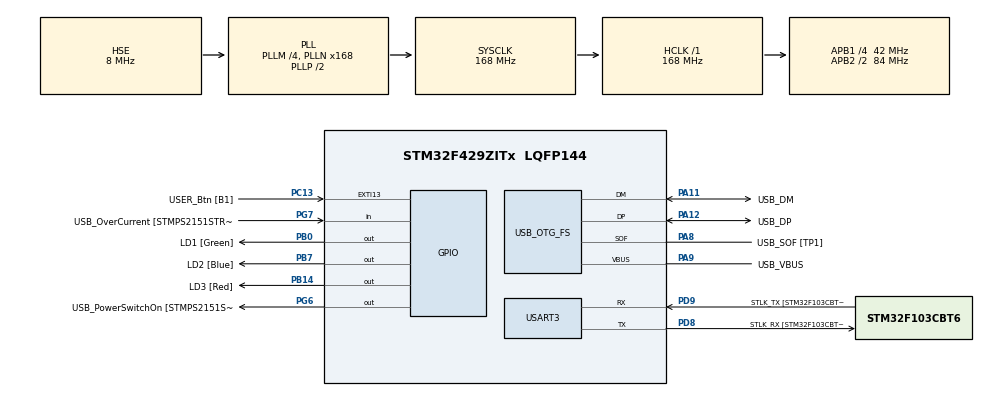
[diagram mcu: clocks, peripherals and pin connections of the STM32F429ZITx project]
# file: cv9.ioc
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Mcu.Family=STM32F4
Mcu.Name=STM32F429ZITx
Mcu.Package=LQFP144
NVIC.OTG_FS_IRQn=true\:0\:0\:false\:false\:true\:false\:true\:true
NVIC.PriorityGroup=NVIC_PRIORITYGROUP_4
PA1.GPIO_Label=RMII_REF_CLK [LAN8742A-CZ-TR_REFCLK0]
PA1.Signal=ETH_REF_CLK
PA10.GPIO_Label=USB_ID
PA10.Signal=USB_OTG_FS_ID
PA11.GPIO_Label=USB_DM
PA11.Mode=Device_Only
PA11.Signal=USB_OTG_FS_DM
PA12.GPIO_Label=USB_DP
PA12.Mode=Device_Only
PA12.Signal=USB_OTG_FS_DP
PA13.GPIO_Label=TMS
PA13.Mode=Serial_Wire
PA13.Signal=SYS_JTMS-SWDIO
PA14.GPIO_Label=TCK
PA14.Mode=Serial_Wire
PA14.Signal=SYS_JTCK-SWCLK
PA2.GPIO_Label=RMII_MDIO [LAN8742A-CZ-TR_MDIO]
PA2.Signal=ETH_MDIO
PA7.GPIO_Label=RMII_CRS_DV [LAN8742A-CZ-TR_CRS_DV]
PA7.Signal=ETH_CRS_DV
PA8.GPIO_Label=USB_SOF [TP1]
PA8.Mode=Activate_SOF_FS
PA8.Signal=USB_OTG_FS_SOF
PA9.GPIO_Label=USB_VBUS
PA9.Mode=Activate_VBUS
PA9.Signal=USB_OTG_FS_VBUS
PB0.GPIO_Label=LD1 [Green]
PB0.Signal=GPIO_Output
PB13.GPIO_Label=RMII_TXD1 [LAN8742A-CZ-TR_TXD1]
PB13.Signal=ETH_TXD1
PB14.GPIO_Label=LD3 [Red]
PB14.Signal=GPIO_Output
PB7.GPIO_Label=LD2 [Blue]
PB7.Signal=GPIO_Output
PC1.GPIO_Label=RMII_MDC [LAN8742A-CZ-TR_MDC]
PC1.Signal=ETH_MDC
PC13.GPIO_Label=USER_Btn [B1]
PC13.Signal=GPXTI13
PC14/OSC32_IN.Mode=LSE-External-Oscillator
PC14/OSC32_IN.Signal=RCC_OSC32_IN
PC15/OSC32_OUT.Mode=LSE-External-Oscillator
PC15/OSC32_OUT.Signal=RCC_OSC32_OUT
PC4.GPIO_Label=RMII_RXD0 [LAN8742A-CZ-TR_RXD0]
PC4.Signal=ETH_RXD0
PC5.GPIO_Label=RMII_RXD1 [LAN8742A-CZ-TR_RXD1]
PC5.Signal=ETH_RXD1
PD8.GPIO_Label=STLK_RX [STM32F103CBT6_PA3]
PD8.Mode=Asynchronous
PD8.Signal=USART3_TX
PD9.GPIO_Label=STLK_TX [STM32F103CBT6_PA2]
PD9.Mode=Asynchronous
PD9.Signal=USART3_RX
PG11.GPIO_Label=RMII_TX_EN [LAN8742A-CZ-TR_TXEN]
PG11.Signal=ETH_TX_EN
PG13.GPIO_Label=RMII_TXD0 [LAN8742A-CZ-TR_TXD0]
PG13.Signal=ETH_TXD0
PG6.GPIO_Label=USB_PowerSwitchOn [STMPS2151STR_EN]
PG6.Signal=GPIO_Output
PG7.GPIO_Label=USB_OverCurrent [STMPS2151STR_FAULT]
PG7.Signal=GPIO_Input
PH0/OSC_IN.GPIO_Label=MCO [STM32F103CBT6_PA8]
PH0/OSC_IN.Mode=HSE-External-Clock-Source
PH0/OSC_IN.Signal=RCC_OSC_IN
PH1/OSC_OUT.Mode=HSE-External-Clock-Source
PH1/OSC_OUT.Signal=RCC_OSC_OUT
ProjectManager.HeapSize=0x200
ProjectManager.StackSize=0x400
ProjectManager.TargetToolchain=STM32CubeIDE
RCC.48MHZClocksFreq_Value=48000000
RCC.AHBFreq_Value=168000000
RCC.APB1CLKDivider=RCC_HCLK_DIV4
RCC.APB1Freq_Value=42000000
RCC.APB1TimFreq_Value=84000000
RCC.APB2CLKDivider=RCC_HCLK_DIV2
RCC.APB2Freq_Value=84000000
RCC.APB2TimCLKDivider=2
RCC.APB2TimFreq_Value=168000000
RCC.CortexFreq_Value=168000000
RCC.HCLKFreq_Value=168000000
RCC.HSE_VALUE=8000000
RCC.HSI_VALUE=16000000
RCC.PLLM=4
RCC.PLLMUL=RCC_PLL_MUL9
RCC.PLLN=168
RCC.PLLQ=7
RCC.PRESCALERUSB=RCC_USBCLKSOURCE_PLL_DIV1_5
RCC.SYSCLKFreq_VALUE=168000000
RCC.SYSCLKSource=RCC_SYSCLKSOURCE_PLLCLK
RCC.SYSCLKSourceVirtual=RCC_SYSCLKSOURCE_PLLCLK
RCC.USBFreq_Value=48000000
RCC.VCOOutputFreq_Value=336000000
USART3.VirtualMode=VM_ASYNC
USB_DEVICE.CLASS_NAME_FS=HID
USB_DEVICE.VirtualMode-HID_FS=Hid
USB_DEVICE.VirtualModeFS=Hid_FS
USB_OTG_FS.VirtualMode=Device_Only
VP_USB_DEVICE_VS_USB_DEVICE_HID_FS.Mode=HID_FS
board=NUCLEO-F429ZI

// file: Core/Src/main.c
/* USER CODE BEGIN Header */
/**
  ******************************************************************************
  * @file           : main.c
  * @brief          : Main program body
  ******************************************************************************
  * @attention
  *
  * Copyright (c) 2025 STMicroelectronics.
  * All rights reserved.
  *
  * This software is licensed under terms that can be found in the LICENSE file
  * in the root directory of this software component.
  * If no LICENSE file comes with this software, it is provided AS-IS.
  *
  ******************************************************************************
  */
/* USER CODE END Header */
#include "main.h"
#include "usb_device.h"

/* USER CODE BEGIN Includes */
#include <math.h>
#include <stdbool.h>
#include "usbd_hid.h"
/* USER CODE END Includes */

UART_HandleTypeDef huart3;
#define PI 3.14
/* USER CODE BEGIN PV */
extern USBD_HandleTypeDef hUsbDeviceFS;
/* USER CODE END PV */

void SystemClock_Config(void);
static void MX_GPIO_Init(void);
static void MX_USART3_UART_Init(void);
/* USER CODE BEGIN PFP */
void step(int8_t dx, int8_t dy, bool scroll);
void circle(int16_t r);
void arc(int16_t rx, int16_t ry, float angle_rad);
void line(int16_t length);
/* USER CODE END PFP */

int main(void)
{

  /* MCU Configuration--------------------------------------------------------*/

  /* Reset of all peripherals, Initializes the Flash interface and the Systick. */
  HAL_Init();

  /* Configure the system clock */
  SystemClock_Config();

  /* Initialize all configured peripherals */
  MX_GPIO_Init();
  MX_USART3_UART_Init();
  MX_USB_DEVICE_Init();

  /* Infinite loop */
  /* USER CODE BEGIN WHILE */
  while (1)
  {
	  if(HAL_GPIO_ReadPin(USER_Btn_GPIO_Port, USER_Btn_Pin) == GPIO_PIN_SET)
	  {
		  circle(150);
		  step(50,-30,0);
		  circle(40);
		  step(100,0,0);
		  circle(40);
		  step(-35,5,0);
		  line(5);
		  step(-90,50,0);
		  arc(150,80, PI);

		  HAL_Delay(100);
	  }
    /* USER CODE END WHILE */

  }
}

void SystemClock_Config(void)
{
  RCC_OscInitTypeDef RCC_OscInitStruct = {0};
  RCC_ClkInitTypeDef RCC_ClkInitStruct = {0};

  /** Configure the main internal regulator output voltage
  */
  __HAL_RCC_PWR_CLK_ENABLE();
  __HAL_PWR_VOLTAGESCALING_CONFIG(PWR_REGULATOR_VOLTAGE_SCALE1);

  /** Initializes the RCC Oscillators according to the specified parameters
  * in the RCC_OscInitTypeDef structure.
  */
  RCC_OscInitStruct.OscillatorType = RCC_OSCILLATORTYPE_HSE;
  RCC_OscInitStruct.HSEState = RCC_HSE_BYPASS;
  RCC_OscInitStruct.PLL.PLLState = RCC_PLL_ON;
  RCC_OscInitStruct.PLL.PLLSource = RCC_PLLSOURCE_HSE;
  RCC_OscInitStruct.PLL.PLLM = 4;
  RCC_OscInitStruct.PLL.PLLN = 168;
  RCC_OscInitStruct.PLL.PLLP = RCC_PLLP_DIV2;
  RCC_OscInitStruct.PLL.PLLQ = 7;
  if (HAL_RCC_OscConfig(&RCC_OscInitStruct) != HAL_OK)
  {
    Error_Handler();
  }

  /** Initializes the CPU, AHB and APB buses clocks
  */
  RCC_ClkInitStruct.ClockType = RCC_CLOCKTYPE_HCLK|RCC_CLOCKTYPE_SYSCLK
                              |RCC_CLOCKTYPE_PCLK1|RCC_CLOCKTYPE_PCLK2;
  RCC_ClkInitStruct.SYSCLKSource = RCC_SYSCLKSOURCE_PLLCLK;
  RCC_ClkInitStruct.AHBCLKDivider = RCC_SYSCLK_DIV1;
  RCC_ClkInitStruct.APB1CLKDivider = RCC_HCLK_DIV4;
  RCC_ClkInitStruct.APB2CLKDivider = RCC_HCLK_DIV2;

  if (HAL_RCC_ClockConfig(&RCC_ClkInitStruct, FLASH_LATENCY_5) != HAL_OK)
  {
    Error_Handler();
  }
}

static void MX_USART3_UART_Init(void)
{

  huart3.Instance = USART3;
  huart3.Init.BaudRate = 115200;
  huart3.Init.WordLength = UART_WORDLENGTH_8B;
  huart3.Init.StopBits = UART_STOPBITS_1;
  huart3.Init.Parity = UART_PARITY_NONE;
  huart3.Init.Mode = UART_MODE_TX_RX;
  huart3.Init.HwFlowCtl = UART_HWCONTROL_NONE;
  huart3.Init.OverSampling = UART_OVERSAMPLING_16;
  if (HAL_UART_Init(&huart3) != HAL_OK)
  {
    Error_Handler();
  }

}

static void MX_GPIO_Init(void)
{
  GPIO_InitTypeDef GPIO_InitStruct = {0};

  /* GPIO Ports Clock Enable */
  __HAL_RCC_GPIOC_CLK_ENABLE();
  __HAL_RCC_GPIOH_CLK_ENABLE();
  __HAL_RCC_GPIOA_CLK_ENABLE();
  __HAL_RCC_GPIOB_CLK_ENABLE();
  __HAL_RCC_GPIOD_CLK_ENABLE();
  __HAL_RCC_GPIOG_CLK_ENABLE();

  /*Configure GPIO pin Output Level */
  HAL_GPIO_WritePin(GPIOB, LD1_Pin|LD3_Pin|LD2_Pin, GPIO_PIN_RESET);

  /*Configure GPIO pin Output Level */
  HAL_GPIO_WritePin(USB_PowerSwitchOn_GPIO_Port, USB_PowerSwitchOn_Pin, GPIO_PIN_RESET);

  /*Configure GPIO pin : USER_Btn_Pin */
  GPIO_InitStruct.Pin = USER_Btn_Pin;
  GPIO_InitStruct.Mode = GPIO_MODE_IT_RISING;
  GPIO_InitStruct.Pull = GPIO_NOPULL;
  HAL_GPIO_Init(USER_Btn_GPIO_Port, &GPIO_InitStruct);

  /*Configure GPIO pins : RMII_MDC_Pin RMII_RXD0_Pin RMII_RXD1_Pin */
  GPIO_InitStruct.Pin = RMII_MDC_Pin|RMII_RXD0_Pin|RMII_RXD1_Pin;
  GPIO_InitStruct.Mode = GPIO_MODE_AF_PP;
  GPIO_InitStruct.Pull = GPIO_NOPULL;
  GPIO_InitStruct.Speed = GPIO_SPEED_FREQ_VERY_HIGH;
  GPIO_InitStruct.Alternate = GPIO_AF11_ETH;
  HAL_GPIO_Init(GPIOC, &GPIO_InitStruct);

  /*Configure GPIO pins : RMII_REF_CLK_Pin RMII_MDIO_Pin RMII_CRS_DV_Pin */
  GPIO_InitStruct.Pin = RMII_REF_CLK_Pin|RMII_MDIO_Pin|RMII_CRS_DV_Pin;
  GPIO_InitStruct.Mode = GPIO_MODE_AF_PP;
  GPIO_InitStruct.Pull = GPIO_NOPULL;
  GPIO_InitStruct.Speed = GPIO_SPEED_FREQ_VERY_HIGH;
  GPIO_InitStruct.Alternate = GPIO_AF11_ETH;
  HAL_GPIO_Init(GPIOA, &GPIO_InitStruct);

  /*Configure GPIO pins : LD1_Pin LD3_Pin LD2_Pin */
  GPIO_InitStruct.Pin = LD1_Pin|LD3_Pin|LD2_Pin;
  GPIO_InitStruct.Mode = GPIO_MODE_OUTPUT_PP;
  GPIO_InitStruct.Pull = GPIO_NOPULL;
  GPIO_InitStruct.Speed = GPIO_SPEED_FREQ_LOW;
  HAL_GPIO_Init(GPIOB, &GPIO_InitStruct);

  /*Configure GPIO pin : RMII_TXD1_Pin */
  GPIO_InitStruct.Pin = RMII_TXD1_Pin;
  GPIO_InitStruct.Mode = GPIO_MODE_AF_PP;
  GPIO_InitStruct.Pull = GPIO_NOPULL;
  GPIO_InitStruct.Speed = GPIO_SPEED_FREQ_VERY_HIGH;
  GPIO_InitStruct.Alternate = GPIO_AF11_ETH;
  HAL_GPIO_Init(RMII_TXD1_GPIO_Port, &GPIO_InitStruct);

  /*Configure GPIO pin : USB_PowerSwitchOn_Pin */
  GPIO_InitStruct.Pin = USB_PowerSwitchOn_Pin;
  GPIO_InitStruct.Mode = GPIO_MODE_OUTPUT_PP;
  GPIO_InitStruct.Pull = GPIO_NOPULL;
  GPIO_InitStruct.Speed = GPIO_SPEED_FREQ_LOW;
  HAL_GPIO_Init(USB_PowerSwitchOn_GPIO_Port, &GPIO_InitStruct);

  /*Configure GPIO pin : USB_OverCurrent_Pin */
  GPIO_InitStruct.Pin = USB_OverCurrent_Pin;
  GPIO_InitStruct.Mode = GPIO_MODE_INPUT;
  GPIO_InitStruct.Pull = GPIO_NOPULL;
  HAL_GPIO_Init(USB_OverCurrent_GPIO_Port, &GPIO_InitStruct);

  /*Configure GPIO pins : RMII_TX_EN_Pin RMII_TXD0_Pin */
  GPIO_InitStruct.Pin = RMII_TX_EN_Pin|RMII_TXD0_Pin;
  GPIO_InitStruct.Mode = GPIO_MODE_AF_PP;
  GPIO_InitStruct.Pull = GPIO_NOPULL;
  GPIO_InitStruct.Speed = GPIO_SPEED_FREQ_VERY_HIGH;
  GPIO_InitStruct.Alternate = GPIO_AF11_ETH;
  HAL_GPIO_Init(GPIOG, &GPIO_InitStruct);

}

/* USER CODE BEGIN 4 */
void step(int8_t dx, int8_t dy, bool btn)
{
	uint8_t buff[4];
	buff[0] = btn; // press the left button
	buff[1] = dx; // shift X +10
	buff[2] = dy; // shift Y -3
	buff[3] = 0; // no scroll
	USBD_HID_SendReport(&hUsbDeviceFS, buff, sizeof(buff));
	HAL_Delay(USBD_HID_GetPollingInterval(&hUsbDeviceFS));
}

void circle(int16_t r)
{
	uint8_t angle;
	int16_t sx = r;
	int16_t sy = 0;

	for (angle = 0; angle < 51; angle++)
	{
		int16_t x = r * cosf(((float)angle / 50.0f) * 2 * PI);
		int16_t y = r * sinf(((float)angle / 50.0f) * 2 * PI);

		step((int8_t)(sx - x), (int8_t)(sy - y), 1);
		sx = x;
		sy = y;
	}
	step(0,0,0);
}

void line(int16_t length)
{
	uint8_t i;
	for (i = 0; i < 50; i++)
	{
		step(0, (int8_t)(i * ((float)length / 50.0f)), 1);
	}
	step(0,0,0);
}

void arc(int16_t rx,int16_t ry, float angle_rad)
{
	uint8_t i;
	int16_t sx = rx;
	int16_t sy = 0;
	for (i = 0; i < 50; i++)
	{
		int16_t x = rx * cosf(((float)i / 50.0f) * angle_rad);
		int16_t y = ry * (-sinf(((float)i / 50.0f) * angle_rad));

		step((int8_t)(sx - x), (int8_t)(sy - y), 1);
		sx = x;
		sy = y;
	}
	step(0,0,0);
}
/* USER CODE END 4 */

void Error_Handler(void)
{
  __disable_irq();
  while (1)
  {
  }
}
